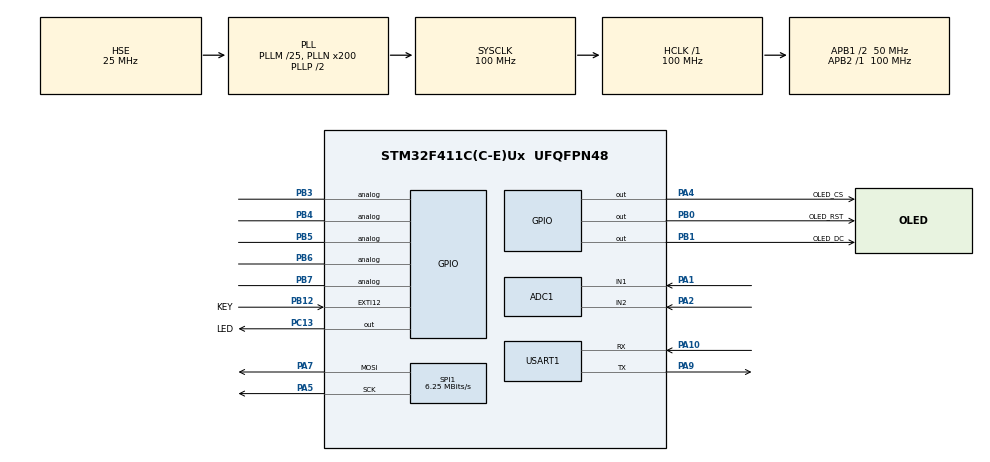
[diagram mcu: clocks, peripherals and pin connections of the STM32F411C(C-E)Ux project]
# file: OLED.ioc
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ADC1.Channel-1\#ChannelRegularConversion=ADC_CHANNEL_1
ADC1.Channel-2\#ChannelRegularConversion=ADC_CHANNEL_2
ADC1.DiscontinuousConvMode=ENABLE
ADC1.NbrOfConversion=2
ADC1.NbrOfConversionFlag=1
ADC1.NbrOfDiscConversion=1
ADC1.Rank-1\#ChannelRegularConversion=1
ADC1.Rank-2\#ChannelRegularConversion=2
ADC1.SamplingTime-1\#ChannelRegularConversion=ADC_SAMPLETIME_3CYCLES
ADC1.SamplingTime-2\#ChannelRegularConversion=ADC_SAMPLETIME_3CYCLES
ADC1.ScanConvMode=ENABLE
ADC1.master=1
Mcu.Family=STM32F4
Mcu.Name=STM32F411C(C-E)Ux
Mcu.Package=UFQFPN48
NVIC.EXTI15_10_IRQn=true\:14\:0\:true\:false\:true\:true\:true\:true
NVIC.PriorityGroup=NVIC_PRIORITYGROUP_4
NVIC.RTC_Alarm_IRQn=true\:0\:0\:false\:false\:true\:true\:true\:true
NVIC.TIM1_UP_TIM10_IRQn=true\:0\:0\:false\:false\:true\:true\:true\:true
NVIC.USART1_IRQn=true\:0\:0\:false\:false\:true\:true\:true\:true
PA1.Signal=ADCx_IN1
PA10.Mode=Asynchronous
PA10.Signal=USART1_RX
PA13.Mode=Serial_Wire
PA13.Signal=SYS_JTMS-SWDIO
PA14.Mode=Serial_Wire
PA14.Signal=SYS_JTCK-SWCLK
PA2.Signal=ADCx_IN2
PA4.GPIO_Label=OLED_CS
PA4.Signal=GPIO_Output
PA5.Mode=TX_Only_Simplex_Unidirect_Master
PA5.Signal=SPI1_SCK
PA7.Mode=TX_Only_Simplex_Unidirect_Master
PA7.Signal=SPI1_MOSI
PA9.Mode=Asynchronous
PA9.Signal=USART1_TX
PB0.GPIO_Label=OLED_RST
PB0.Signal=GPIO_Output
PB1.GPIO_Label=OLED_DC
PB1.Signal=GPIO_Output
PB12.GPIO_Label=KEY
PB12.GPIO_ModeDefaultEXTI=GPIO_MODE_IT_FALLING
PB12.GPIO_PuPd=GPIO_PULLUP
PB12.Signal=GPXTI12
PB3.Signal=GPIO_Analog
PB4.Signal=GPIO_Analog
PB5.Signal=GPIO_Analog
PB6.Signal=GPIO_Analog
PB7.Signal=GPIO_Analog
PC13-ANTI_TAMP.GPIO_Label=LED
PC13-ANTI_TAMP.GPIO_PuPd=GPIO_PULLUP
PC13-ANTI_TAMP.Signal=GPIO_Output
PH0\ -\ OSC_IN.Mode=HSE-External-Oscillator
PH0\ -\ OSC_IN.Signal=RCC_OSC_IN
PH1\ -\ OSC_OUT.Mode=HSE-External-Oscillator
PH1\ -\ OSC_OUT.Signal=RCC_OSC_OUT
ProjectManager.HeapSize=0x200
ProjectManager.StackSize=0x400
ProjectManager.TargetToolchain=MDK-ARM V5
RCC.48MHZClocksFreq_Value=50000000
RCC.AHBFreq_Value=100000000
RCC.APB1CLKDivider=RCC_HCLK_DIV2
RCC.APB1Freq_Value=50000000
RCC.APB1TimFreq_Value=100000000
RCC.APB2Freq_Value=100000000
RCC.APB2TimFreq_Value=100000000
RCC.CortexFreq_Value=100000000
RCC.HCLKFreq_Value=100000000
RCC.HSE_VALUE=25000000
RCC.HSI_VALUE=16000000
RCC.LSE_VALUE=32768
RCC.PLLM=25
RCC.PLLN=200
RCC.PLLSourceVirtual=RCC_PLLSOURCE_HSE
RCC.SYSCLKFreq_VALUE=100000000
RCC.SYSCLKSource=RCC_SYSCLKSOURCE_PLLCLK
RCC.VCOOutputFreq_Value=200000000
RTC.Alarm=RTC_ALARM_A
SH.ADCx_IN1.0=ADC1_IN1,IN1
SH.ADCx_IN2.0=ADC1_IN2,IN2
SPI1.BaudRatePrescaler=SPI_BAUDRATEPRESCALER_16
SPI1.CalculateBaudRate=6.25 MBits/s
SPI1.Direction=SPI_DIRECTION_2LINES
SPI1.Mode=SPI_MODE_MASTER
SPI1.VirtualType=VM_MASTER
TIM1.AutoReloadPreload=TIM_AUTORELOAD_PRELOAD_ENABLE
TIM1.Period=10-1
TIM1.Prescaler=10-1
USART1.VirtualMode=VM_ASYNC
VP_RTC_VS_RTC_Activate.Mode=RTC_Enabled
VP_RTC_VS_RTC_Alarm_A_Intern.Mode=Alarm A
VP_RTC_VS_RTC_Calendar.Mode=RTC_Calendar
VP_TIM1_VS_ClockSourceINT.Mode=Internal
board=custom

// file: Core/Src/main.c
/* USER CODE BEGIN Header */
/**
  ******************************************************************************
  * @file           : main.c
  * @brief          : Main program body
  ******************************************************************************
  * @attention
  *
  * Copyright (c) 2024 STMicroelectronics.
  * All rights reserved.
  *
  * This software is licensed under terms that can be found in the LICENSE file
  * in the root directory of this software component.
  * If no LICENSE file comes with this software, it is provided AS-IS.
  *
  ******************************************************************************
  */
/* USER CODE END Header */
#include "main.h"
#include "adc.h"
#include "rtc.h"
#include "spi.h"
#include "tim.h"
#include "usart.h"
#include "gpio.h"

/* USER CODE BEGIN Includes */
#include "oled.h"
#include "bmp.h"
#include <stdio.h>
#include <math.h>
/* USER CODE END Includes */

/* USER CODE BEGIN PD */
#define High     1
#define Low      2
#define Analog   3
#define Floating 4
/**
  *这里解释一下四种模式对应的gpio八种工作模式中的哪四种：
	1 High 推挽输出高电平3.3v
	2 Low 推挽输出低电平0v，电容电感放电时应该选用此模式最好
	*推挽与开漏输出的区别：
	推挽输出可以提供高电平和低电平的输出能力，适用于驱动各种负载。
  开漏输出只能提供低电平的输出能力，适用于信号的共享和隔离。

	3 Analog 模拟输入模式，用于读取外部模拟信号，并将其转换为数字值
	4 Floating 浮空输入模式，此时该gpio口处于一种悬空的状态，用于屏蔽未使用到的管脚
  */

#define ADCZERO 300 //预设放电到多少mv
/* USER CODE END PD */

/* USER CODE BEGIN PV */
uint16_t ADC_Value;
volatile uint32_t count_0_1ms = 0;
/* USER CODE END PV */

void SystemClock_Config(void);

/* USER CODE BEGIN 0 */

//进入睡眠模式子函数

void Mode_Init()//引脚全部初始化为模拟状态
{
	//2端口
	GPIO_SwitchMode(GPIOA,GPIO_PIN_1,Analog);
	GPIO_SwitchMode(GPIOB,GPIO_PIN_3,Analog);
	GPIO_SwitchMode(GPIOB,GPIO_PIN_4,Analog);
	GPIO_SwitchMode(GPIOB,GPIO_PIN_5,Analog);

	//1端口
	GPIO_SwitchMode(GPIOA,GPIO_PIN_2,Analog);
	GPIO_SwitchMode(GPIOB,GPIO_PIN_6,Analog);
	GPIO_SwitchMode(GPIOB,GPIO_PIN_7,Analog);
	GPIO_SwitchMode(GPIOB,GPIO_PIN_8,Analog);
	GPIO_SwitchMode(GPIOB,GPIO_PIN_9,Analog);
}

///////////////////////////////////////////////////////////

void Measure_F1T2_680()//F为front T为to
{
	Mode_Init();
	GPIO_SwitchMode(GPIOB,GPIO_PIN_6,High);
	GPIO_SwitchMode(GPIOB,GPIO_PIN_5,Low);

	//不用的端口全部浮空
	GPIO_SwitchMode(GPIOB,GPIO_PIN_3,Floating);
	GPIO_SwitchMode(GPIOB,GPIO_PIN_4,Floating);
	GPIO_SwitchMode(GPIOB,GPIO_PIN_7,Floating);
	GPIO_SwitchMode(GPIOB,GPIO_PIN_8,Floating);

	//剩余端口用来测电压
}

void Measure_F1T2_470k()//F为front T为to
{
	Mode_Init();
	GPIO_SwitchMode(GPIOB,GPIO_PIN_6,High);
	GPIO_SwitchMode(GPIOB,GPIO_PIN_4,Low);

	//不用的端口全部浮空
	GPIO_SwitchMode(GPIOB,GPIO_PIN_3,Floating);
	GPIO_SwitchMode(GPIOB,GPIO_PIN_5,Floating);
	GPIO_SwitchMode(GPIOB,GPIO_PIN_7,Floating);
	GPIO_SwitchMode(GPIOB,GPIO_PIN_8,Floating);

	//剩余端口用来测电压
}

void Measure_F2T1_680()//F为front T为to
{
	Mode_Init();
	GPIO_SwitchMode(GPIOB,GPIO_PIN_6,Low);
	GPIO_SwitchMode(GPIOB,GPIO_PIN_5,High);

	//不用的端口全部浮空
	GPIO_SwitchMode(GPIOB,GPIO_PIN_3,Floating);
	GPIO_SwitchMode(GPIOB,GPIO_PIN_4,Floating);
	GPIO_SwitchMode(GPIOB,GPIO_PIN_7,Floating);
	GPIO_SwitchMode(GPIOB,GPIO_PIN_9,Floating);

	//剩余端口用来测电压
}

void Measure_680_discharge()//F为front T为to
{
	Mode_Init();
	GPIO_SwitchMode(GPIOB,GPIO_PIN_6,Low);
	GPIO_SwitchMode(GPIOB,GPIO_PIN_5,Low);

	//不用的端口全部浮空
	GPIO_SwitchMode(GPIOB,GPIO_PIN_3,Floating);
	GPIO_SwitchMode(GPIOB,GPIO_PIN_4,Floating);
	GPIO_SwitchMode(GPIOB,GPIO_PIN_7,Floating);
	GPIO_SwitchMode(GPIOB,GPIO_PIN_9,Floating);

	//剩余端口用来测电压
}

void Measure_F2T1_470k()//F为front T为to
{
	Mode_Init();
	GPIO_SwitchMode(GPIOB,GPIO_PIN_6,Low);
	GPIO_SwitchMode(GPIOB,GPIO_PIN_4,High);

	//不用的端口全部浮空
	GPIO_SwitchMode(GPIOB,GPIO_PIN_3,Floating);
	GPIO_SwitchMode(GPIOB,GPIO_PIN_5,Floating);
	GPIO_SwitchMode(GPIOB,GPIO_PIN_7,Floating);
	GPIO_SwitchMode(GPIOB,GPIO_PIN_9,Floating);

	//剩余端口用来测电压
}

void Measure_470k_discharge()//F为front T为to
{
	Mode_Init();
	GPIO_SwitchMode(GPIOB,GPIO_PIN_6,Low);
	GPIO_SwitchMode(GPIOB,GPIO_PIN_4,Low);

	//不用的端口全部浮空
	GPIO_SwitchMode(GPIOB,GPIO_PIN_3,Floating);
	GPIO_SwitchMode(GPIOB,GPIO_PIN_5,Floating);
	GPIO_SwitchMode(GPIOB,GPIO_PIN_7,Floating);

	//剩余端口用来测电压
}

void Measure_F2T1_1M()//F为front T为to
{
	Mode_Init();
	GPIO_SwitchMode(GPIOB,GPIO_PIN_6,Low);
	GPIO_SwitchMode(GPIOB,GPIO_PIN_9,High);

	//不用的端口全部浮空
	GPIO_SwitchMode(GPIOB,GPIO_PIN_3,Floating);
	GPIO_SwitchMode(GPIOB,GPIO_PIN_4,Floating);
	GPIO_SwitchMode(GPIOB,GPIO_PIN_5,Floating);
	GPIO_SwitchMode(GPIOB,GPIO_PIN_7,Floating);
}

///////////////////////////////////////////////////////////////////

// 中断回调函数
void HAL_TIM_PeriodElapsedCallback(TIM_HandleTypeDef *htim)
{
  if (htim->Instance == TIM1) count_0_1ms++;
}

// 获取自启动以来经过的微秒数
uint32_t GetTime(void)
{
    return count_0_1ms;
}

///////////////////////////////////////////////////////////////////

/**
  * 函数功能: 获得adc采样的值（单位mV）
  * 输入参数:数组名或 1,2，分别是1,2端的ADC
  * 返 回 值: 整数，mV值
  * 说    明：
  */
void GetVol(uint32_t vol_arr[2])
{
    uint16_t arrget[2] = {0};
    int i,j;
    for(i = 0; i < 5; i++)
    {
        for(j = 0; j < 2; j++)
        {
            HAL_ADC_Start(&hadc1);
            if(HAL_ADC_PollForConversion(&hadc1, 10) == HAL_OK)
            {
                arrget[j] += HAL_ADC_GetValue(&hadc1);
            }
        }
        HAL_ADC_Stop(&hadc1);
    }
    vol_arr[0] = (uint32_t)(arrget[0] * 3300 / 4096.0 / 5); // 第一个端口的平均值
    vol_arr[1] = (uint32_t)(arrget[1] * 3300 / 4096.0 / 5); // 第二个端口的平均值
}

uint32_t GetVol1(int a)//a为1,2分别是1,2端的ADC(PA1,PA2)
{
	uint16_t arrget[2] = {0};
	uint16_t Vol;
	int i,j;
	for(i=0;i<5;i++)
	{
		for(j=0;j<2;j++)
		{
			HAL_ADC_Start(&hadc1);
			if(HAL_ADC_PollForConversion(&hadc1, 10) == HAL_OK)
			{
				arrget[j] += HAL_ADC_GetValue(&hadc1);
			}
		}
		HAL_ADC_Stop(&hadc1);
	}
	Vol = (int)(arrget[a-1] * 3300 / 4096.0 / 5);//五次测量求取平均
	//Res = (int)((3300.0/Vol-1.0)*510);

	return Vol;
}

uint32_t GetVol2(int a)//a为1,2分别是1,2端的ADC(PA1,PA2)
{
	uint16_t arrget[2] = {0};
	uint16_t Vol;
	int i,j;
		for(j=0;j<2;j++)
		{
			HAL_ADC_Start(&hadc1);
			if(HAL_ADC_PollForConversion(&hadc1, 10) == HAL_OK)
			{
				arrget[j] += HAL_ADC_GetValue(&hadc1);
			}
		}
		HAL_ADC_Stop(&hadc1);
	Vol = (int)(arrget[a-1] * 3300 / 4096.0 );//五次测量求取平均
	//Res = (int)((3300.0/Vol-1.0)*510);

	return Vol;
}

/**
  * 函数功能: 判断函数元件类型，并将判断结果打印在屏幕上
  * 输入参数: 无
  * 返 回 值: 1-3的整数
  * 说    明：1电阻2电容3电感4二极管1-2 5二极管2-1
  */

int Element_Type()
{
	uint32_t adcget1,adcget2,adc_values[2];
	Measure_F1T2_470k();
	HAL_Delay(300);
	GetVol(adc_values);
	if(adc_values[1]>=3250 && adc_values[0]<=70)
	{
		Measure_F2T1_680();
	  HAL_Delay(300);
	  GetVol(adc_values);
		if(adc_values[0]>=3250 && adc_values[1]<=50) return 2;
		else return 5;

	}
	else{
	  Measure_F1T2_680();
	  HAL_Delay(500);
	  GetVol(adc_values);
		if(adc_values[1]>=3250 && adc_values[0]<=50)
		{
			Measure_680_discharge();
			HAL_Delay(300);
			Measure_F2T1_680();
			HAL_Delay(100);
			GPIO_SwitchMode(GPIOB,GPIO_PIN_5,Low);
			adcget1=GetVol2(1);
			HAL_Delay(1);
			adcget2=GetVol2(1);
			if(adcget1-adcget2 >=10 && adcget2-adcget1>=10) return 2;
			else return 1;
		}
		Measure_F2T1_680();
	  HAL_Delay(300);
	  GetVol(adc_values);
		if(adc_values[0]>=3250 && adc_values[1]<=50) return 4;
		else return 1;
	}

}

/**
  * 函数功能: 电阻的计算与显示
  * 输入参数:
  * 返 回 值:
  * 说    明：计算电阻的值，并把结果打在屏幕上
  */
void Resistance_Check()
{
	float Res_1;
	uint32_t Res_2;
	uint32_t adc_values[2];
	Measure_F1T2_680();
	HAL_Delay(5);
	GetVol(adc_values);
	Res_1 = ( ( (float)adc_values[1] ) / ( (float)adc_values[0] )-1.0)*708;
	Measure_F1T2_470k();
	HAL_Delay(5);
	GetVol(adc_values);
	Res_2 = (int)(( ( (float)adc_values[1] ) / ( (float)adc_values[0] )-1.0)*475000);

	OLED_DrawBMP(32,2,80,4,BMP1);//画电阻
	if(Res_1 <= 15000) OLED_Showdecimal(0,4,Res_1,7,1,16);
	else OLED_ShowNum(0,4,Res_2,7,16);
	OLED_ShowCHinese(80,4,7);
}

/**
  * 函数功能: 电容的计算与显示
  * 输入参数:
  * 返 回 值:
  * 说    明：计算电容的值，并把结果打在屏幕上
  */
void Capacitance_Check()
{
	uint16_t adcget1, adcget2;
	float Res;
  uint32_t time1, time2;
  uint16_t i = 0;

	Measure_F2T1_680();
	HAL_Delay(100);
	GPIO_SwitchMode(GPIOB,GPIO_PIN_5,Low);
	adcget1 = GetVol2(1);
	time1 = GetTime();

	 while (i < 0xffff) {
       adcget2 = GetVol2(1);
       i++;
       if (adcget2 < ADCZERO) {
           break;
      }
  }
	time2 = GetTime();

	Res = (time2 - time1) / (375 * log(adcget1 / (float) adcget2)) * 1000;

		if(Res >= 1000) {
			OLED_DrawBMP(32,2,80,4,BMP2);//画电容
		OLED_Showdecimal(0,4,Res/1000,4,2,16);
		OLED_ShowString(80,4,"uF");
			return;
	}

		Measure_F2T1_470k();
		HAL_Delay(100);
	  GPIO_SwitchMode(GPIOB,GPIO_PIN_4,Low);
		adcget1 = GetVol2(1);
	  time1 =GetTime();

	  while (i < 0xffff) {
       adcget2 = GetVol2(1);
       i++;
       if (adcget2 < ADCZERO) {
           break;
      }
  }
	time2 = GetTime();

	Res = (time2 - time1) / (240000 * log(adcget1 / (float) adcget2)) * 1000;
	if(Res >= 10){
		OLED_DrawBMP(32,2,80,4,BMP2);//画电容
	    OLED_Showdecimal(0,4,Res,4,2,16);
		  OLED_ShowString(80,4,"nF");
			return;
	}

	else {
		Measure_F2T1_1M();
		HAL_Delay(100);
	  GPIO_SwitchMode(GPIOB,GPIO_PIN_9,Low);
		adcget1 = GetVol2(1);
	  time1 =GetTime();

	  while (i < 0xffff) {
       adcget2 = GetVol2(1);
       i++;
       if (adcget2 < ADCZERO) {
           break;
      }
  }
	time2 = GetTime();

		  if(adcget1<=550) {
			OLED_ShowCHinese(0,2,8); OLED_ShowCHinese(16,2,9); OLED_ShowCHinese(32,2,10);
	    OLED_ShowCHinese(48,2,11); OLED_ShowCHinese(64,2,12); OLED_ShowCHinese(80,2,13);return;
		}

	Res = (time2 - time1) / (0.66 * log(adcget1 / (float) adcget2));
	OLED_DrawBMP(32,2,80,4,BMP2);//画电容
	OLED_Showdecimal(0,4,Res,4,2,16);
	OLED_ShowString(80,4,"pF");

	}

}

/**
  * 函数功能: 电感的计算与显示
  * 输入参数:
  * 返 回 值:
  * 说    明：计算电感的值，并把结果打在屏幕上
  */
void Inductance_Check()
{
	uint32_t adcget1, adcget2, adc_values[2];
	float Res,Esr;

	Measure_680_discharge();
	HAL_Delay(100);
	GPIO_SwitchMode(GPIOB,GPIO_PIN_5,High);
	adcget1=GetVol2(1);
	adcget2=GetVol2(1);
	HAL_Delay(100);

	Measure_F1T2_680();
	HAL_Delay(5);
	GetVol(adc_values);
	Esr = ( ( (float)adc_values[1] ) / ( (float)adc_values[0] )-1.0)*708;
	OLED_ShowString(0,6,"ESR=");
	OLED_Showdecimal(32,6,Esr,2,2,16);
  OLED_ShowCHinese(80,6,7);

}

/**
  * 函数功能: 二极管压降的计算与显示
  * 输入参数:
  * 返 回 值:
  * 说    明：计算压降的值，并把结果打在屏幕上
  */
void Diode_Check_1()//返回4时使用
{
		uint32_t adcget,adc_values[2];
	  Measure_F1T2_680();
		GetVol(adc_values);
	  HAL_Delay(100);
	  adcget = adc_values[1] - adc_values[0];
	  OLED_ShowNum(16,2,1,1,16);
	  OLED_DrawBMP(32,2,80,4,BMP4);//画二极管
	  OLED_ShowNum(80,2,2,1,16);
		OLED_ShowString(0,4,"Vd=");
	  OLED_Showdecimal(32,4,adcget/1000.0,1,2,16);
	  OLED_ShowString(64,4,"V");
}

void Diode_Check_2()//返回5时使用
{
	  float adcget;
	  Measure_F2T1_680();
	  HAL_Delay(100);
		adcget = GetVol1(1) / 1000.0;
	  OLED_ShowNum(16,2,2,1,16);
	  OLED_DrawBMP(32,2,80,4,BMP4);//画二极管
	  OLED_ShowNum(80,2,1,1,16);
		OLED_ShowString(0,4,"Vd=");
	  OLED_Showdecimal(32,4,adcget,1,2,16);
	  OLED_ShowString(64,4,"V");
}

/* USER CODE END 0 */

int main(void)
{

  /* MCU Configuration--------------------------------------------------------*/

  /* Reset of all peripherals, Initializes the Flash interface and the Systick. */
  HAL_Init();

  /* Configure the system clock */
  SystemClock_Config();

  /* Initialize all configured peripherals */
  MX_GPIO_Init();
  MX_SPI1_Init();
  MX_ADC1_Init();
  MX_USART1_UART_Init();
  MX_RTC_Init();
  MX_TIM1_Init();
  /* USER CODE BEGIN 2 */

	//HAL_ADCEx_Calibration_Start(&hadc1);    //AD校准
	HAL_TIM_Base_Start_IT(&htim1);
	OLED_Init();
	OLED_Clear();

  /* USER CODE END 2 */

  /* Infinite loop */
  /* USER CODE BEGIN WHILE */
  while (1)
  {

		OLED_ShowCHinese(0,0,17); OLED_ShowCHinese(16,0,18); OLED_ShowCHinese(32,0,19);
	  OLED_ShowCHinese(48,0,20); OLED_ShowCHinese(64,0,21); OLED_ShowCHinese(80,0,22);

    HAL_Delay(1000);
    /* USER CODE END WHILE */

  }
}

void SystemClock_Config(void)
{
  RCC_OscInitTypeDef RCC_OscInitStruct = {0};
  RCC_ClkInitTypeDef RCC_ClkInitStruct = {0};

  /** Configure the main internal regulator output voltage
  */
  __HAL_RCC_PWR_CLK_ENABLE();
  __HAL_PWR_VOLTAGESCALING_CONFIG(PWR_REGULATOR_VOLTAGE_SCALE1);

  /** Initializes the RCC Oscillators according to the specified parameters
  * in the RCC_OscInitTypeDef structure.
  */
  RCC_OscInitStruct.OscillatorType = RCC_OSCILLATORTYPE_LSI|RCC_OSCILLATORTYPE_HSE;
  RCC_OscInitStruct.HSEState = RCC_HSE_ON;
  RCC_OscInitStruct.LSIState = RCC_LSI_ON;
  RCC_OscInitStruct.PLL.PLLState = RCC_PLL_ON;
  RCC_OscInitStruct.PLL.PLLSource = RCC_PLLSOURCE_HSE;
  RCC_OscInitStruct.PLL.PLLM = 25;
  RCC_OscInitStruct.PLL.PLLN = 200;
  RCC_OscInitStruct.PLL.PLLP = RCC_PLLP_DIV2;
  RCC_OscInitStruct.PLL.PLLQ = 4;
  if (HAL_RCC_OscConfig(&RCC_OscInitStruct) != HAL_OK)
  {
    Error_Handler();
  }

  /** Initializes the CPU, AHB and APB buses clocks
  */
  RCC_ClkInitStruct.ClockType = RCC_CLOCKTYPE_HCLK|RCC_CLOCKTYPE_SYSCLK
                              |RCC_CLOCKTYPE_PCLK1|RCC_CLOCKTYPE_PCLK2;
  RCC_ClkInitStruct.SYSCLKSource = RCC_SYSCLKSOURCE_PLLCLK;
  RCC_ClkInitStruct.AHBCLKDivider = RCC_SYSCLK_DIV1;
  RCC_ClkInitStruct.APB1CLKDivider = RCC_HCLK_DIV2;
  RCC_ClkInitStruct.APB2CLKDivider = RCC_HCLK_DIV1;

  if (HAL_RCC_ClockConfig(&RCC_ClkInitStruct, FLASH_LATENCY_3) != HAL_OK)
  {
    Error_Handler();
  }
}

/* USER CODE BEGIN 4 */
void HAL_GPIO_EXTI_Callback(uint16_t GPIO_Pin)
{
	HAL_Delay(10);
	if(HAL_GPIO_ReadPin(KEY_GPIO_Port,KEY_Pin) == GPIO_PIN_RESET)
	{
		OLED_Clear();
			switch(Element_Type())
		{
			case 1:
		  Resistance_Check();break;
			case 2:
			Capacitance_Check();break;
			case 3:OLED_DrawBMP(32,2,80,4,BMP3);//画电感
			Inductance_Check();break;
			case 4:Diode_Check_1(); break;
			case 5:Diode_Check_2(); break;
		}

	}
}
/* USER CODE END 4 */

void Error_Handler(void)
{
  __disable_irq();
  while (1)
  {
  }
}
